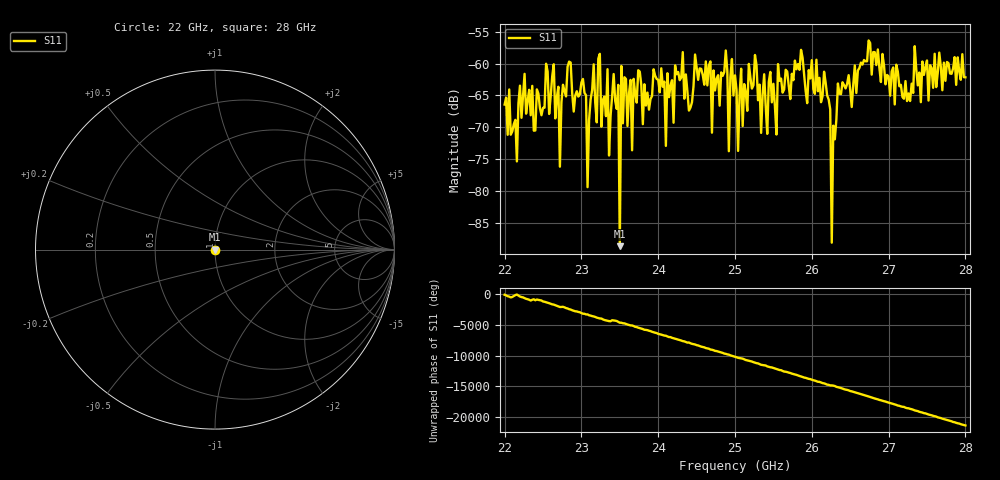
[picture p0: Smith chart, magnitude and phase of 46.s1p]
#  HZ  S  RI  R  50.00
! Rohde & Schwarz ZVA40 4Ports - Version 3.90 - 1145.1110k42 SN: 100403
! Date: 2023-10-04 11:28:08
! Measurement: S12
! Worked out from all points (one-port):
!   301 points, 22 GHz to 28 GHz, reference 50 ohm
!   lowest |S11| = -88.7 dB at 23.5 GHz (marker M1), VSWR 1.00, Z = 50 + j0.00154 ohm
!   |S11| at or under -10 dB: start of sweep to end of sweep
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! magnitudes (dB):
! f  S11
! 22 GHz  -66.4
! 22.64 GHz  -60.1
! 22.72 GHz  -76.2
! 22.76 GHz  -63.3
! 23.02 GHz  -62.4
! 23.08 GHz  -79.4
! 23.16 GHz  -60.1
! 23.34 GHz  -60.9
! 23.36 GHz  -74.4
! 23.42 GHz  -61.6
! 23.48 GHz  -63.3
! 23.5 GHz  -88.7
! 23.52 GHz  -60.4
! 23.66 GHz  -73.6
! 24.26 GHz  -61.3
! 24.7 GHz  -70.9
! 24.88 GHz  -57.9
! 24.92 GHz  -73.8
! 25 GHz  -61.9
! 25.04 GHz  -73.7
! 25.08 GHz  -60.8
! 25.76 GHz  -62.6
! 26.16 GHz  -61.3
! 26.26 GHz  -88.1
! 26.34 GHz  -63.1
! 26.5 GHz  -64.1
! 27.26 GHz  -64.7
! 28 GHz  -62.2
